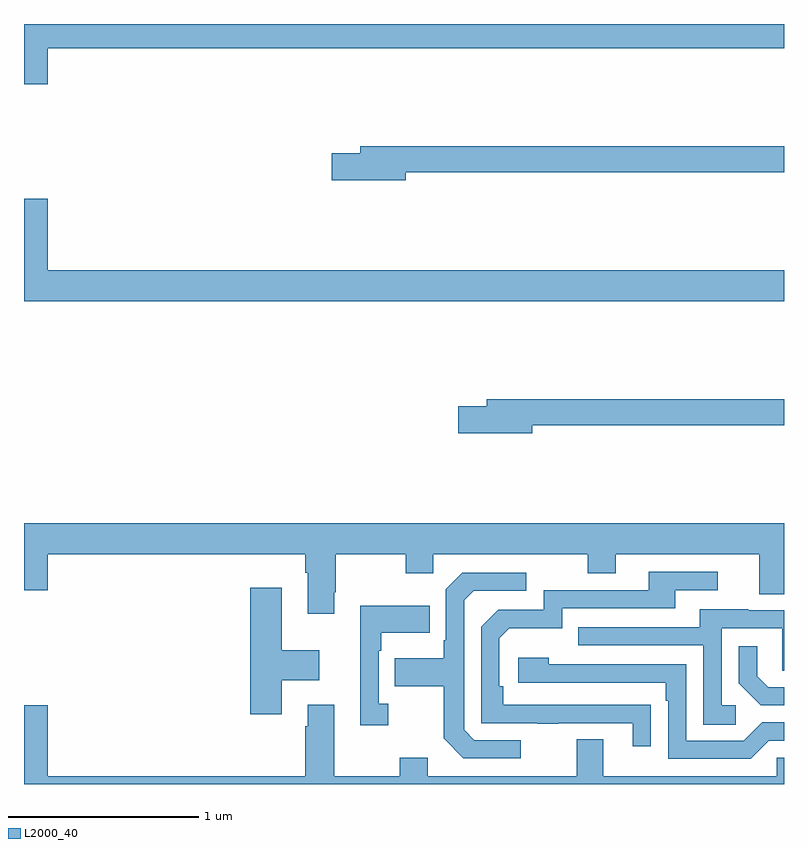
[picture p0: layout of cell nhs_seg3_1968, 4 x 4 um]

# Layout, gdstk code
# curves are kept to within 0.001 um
import gdstk
lib = gdstk.Library(unit=1e-6, precision=1e-09)
def P(c, l, *ps):  # polygons
    for p in ps: c.add(gdstk.Polygon(p, *l))
L2000_40 = (2000, 40)

nhs_seg3_1968 = lib.new_cell('nhs_seg3_1968')
P(nhs_seg3_1968, L2000_40, [(213.124,678.272),(217,678.272),(217,678.4),(213,678.4),(213,678.084),(213.124,678.084)],
  [(215.008,677.62),(217,677.62),(217,677.756),(214.769,677.756),(214.769,677.72),(214.62,677.72),(214.62,677.578),(215.008,677.578)],
  [(217,677.104),(213.124,677.104),(213.124,677.479),(213,677.479),(213,676.94),(217,676.94)],
  [(215.674,676.288),(217,676.288),(217,676.424),(215.435,676.424),(215.435,676.388),(215.286,676.388),(215.286,676.246),(215.674,676.246)],
  [(214.633,675.409),(214.641,675.409),(214.641,675.608),(215.008,675.608),(215.008,675.509),(215.154,675.509),(215.154,675.608),(215.968,675.608),(215.968,675.509),(216.115,675.509),(216.115,675.608),(216.869,675.608),(216.869,675.4),(217,675.4),(217,675.772),(213,675.772),(213,675.42),(213.124,675.42),(213.124,675.608),(214.481,675.608),(214.481,675.512),(214.493,675.512),(214.493,675.297),(214.633,675.297)],
  [(216.299,674.816),(215.522,674.817),(215.522,674.914),(215.502,674.914),(215.502,675.168),(215.555,675.221),(215.832,675.221),(215.832,675.324),(216.427,675.324),(216.427,675.42),(216.652,675.42),(216.652,675.516),(216.287,675.516),(216.287,675.42),(215.736,675.42),(215.736,675.318),(215.496,675.318),(215.406,675.228),(215.406,674.721),(215.701,674.721),(215.701,674.716),(215.813,674.716),(215.813,674.721),(216.203,674.721),(216.203,674.598),(216.299,674.598)],
  [(215.614,674.631),(215.37,674.631),(215.316,674.685),(215.316,675.366),(215.367,675.417),(215.644,675.417),(215.644,675.513),(215.307,675.513),(215.22,675.426),(215.22,675.157),(215.208,675.157),(215.208,675.061),(214.951,675.061),(214.951,674.914),(215.208,674.914),(215.208,674.641),(215.313,674.535),(215.614,674.535)],
  [(214.357,674.945),(214.555,674.945),(214.555,675.103),(214.357,675.103),(214.357,675.433),(214.19,675.433),(214.19,674.766),(214.357,674.766)],
  [(214.918,674.822),(214.866,674.822),(214.866,675.101),(214.879,675.101),(214.879,675.197),(215.135,675.197),(215.135,675.337),(214.769,675.337),(214.769,674.709),(214.918,674.709)],
  [(216.745,674.814),(216.672,674.814),(216.672,675.219),(216.99,675.219),(216.99,674.995),(217,674.995),(217,675.315),(216.811,675.315),(216.811,675.319),(216.557,675.319),(216.557,675.225),(215.917,675.225),(215.917,675.129),(216.576,675.129),(216.576,674.713),(216.745,674.713)],
  [(217,674.91),(216.916,674.91),(216.859,674.967),(216.859,675.124),(216.762,675.124),(216.762,674.93),(216.878,674.814),(217,674.814)],
  [(216.921,674.628),(217,674.628),(217,674.724),(216.885,674.724),(216.789,674.628),(216.486,674.628),(216.486,675.03),(215.762,675.03),(215.762,675.064),(215.601,675.064),(215.601,674.934),(216.377,674.934),(216.377,674.837),(216.39,674.837),(216.39,674.532),(216.825,674.532)],
  [(217,674.538),(216.963,674.538),(216.963,674.44),(216.049,674.44),(216.049,674.635),(215.909,674.635),(215.909,674.44),(215.125,674.44),(215.125,674.539),(214.978,674.539),(214.978,674.44),(214.633,674.44),(214.633,674.818),(214.493,674.818),(214.493,674.705),(214.481,674.705),(214.481,674.44),(213.124,674.44),(213.124,674.815),(213,674.815),(213,674.4),(217,674.4)])

lib.write_gds('nhs_seg3_1968.gds')
